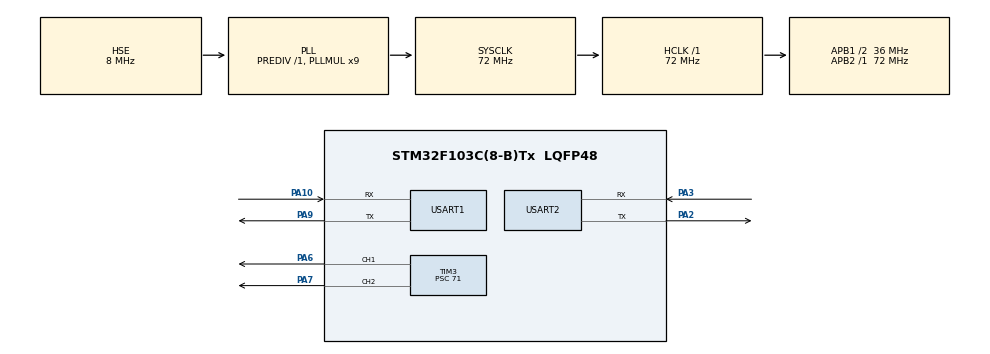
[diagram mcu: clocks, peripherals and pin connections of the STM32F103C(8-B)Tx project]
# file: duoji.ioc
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Dma.Request0=USART1_RX
Dma.USART1_RX.0.Direction=DMA_PERIPH_TO_MEMORY
Dma.USART1_RX.0.Instance=DMA1_Channel5
Dma.USART1_RX.0.MemDataAlignment=DMA_MDATAALIGN_BYTE
Dma.USART1_RX.0.MemInc=DMA_MINC_ENABLE
Dma.USART1_RX.0.Mode=DMA_NORMAL
Dma.USART1_RX.0.PeriphDataAlignment=DMA_PDATAALIGN_BYTE
Dma.USART1_RX.0.PeriphInc=DMA_PINC_DISABLE
Dma.USART1_RX.0.Priority=DMA_PRIORITY_LOW
Mcu.Family=STM32F1
Mcu.Name=STM32F103C(8-B)Tx
Mcu.Package=LQFP48
NVIC.DMA1_Channel5_IRQn=true\:0\:0\:false\:false\:true\:false\:true\:true
NVIC.PriorityGroup=NVIC_PRIORITYGROUP_4
NVIC.TIM4_IRQn=true\:0\:0\:false\:false\:true\:true\:true\:true
NVIC.USART1_IRQn=true\:0\:0\:false\:false\:true\:true\:true\:true
PA10.Mode=Asynchronous
PA10.Signal=USART1_RX
PA13.Mode=Serial_Wire
PA13.Signal=SYS_JTMS-SWDIO
PA14.Mode=Serial_Wire
PA14.Signal=SYS_JTCK-SWCLK
PA2.Mode=Asynchronous
PA2.Signal=USART2_TX
PA3.Mode=Asynchronous
PA3.Signal=USART2_RX
PA6.Signal=S_TIM3_CH1
PA7.Signal=S_TIM3_CH2
PA9.Mode=Asynchronous
PA9.Signal=USART1_TX
PD0-OSC_IN.Mode=HSE-External-Oscillator
PD0-OSC_IN.Signal=RCC_OSC_IN
PD1-OSC_OUT.Mode=HSE-External-Oscillator
PD1-OSC_OUT.Signal=RCC_OSC_OUT
ProjectManager.HeapSize=0x200
ProjectManager.StackSize=0x400
ProjectManager.TargetToolchain=MDK-ARM V5.32
RCC.AHBFreq_Value=72000000
RCC.APB1CLKDivider=RCC_HCLK_DIV2
RCC.APB1Freq_Value=36000000
RCC.APB1TimFreq_Value=72000000
RCC.APB2Freq_Value=72000000
RCC.APB2TimFreq_Value=72000000
RCC.HCLKFreq_Value=72000000
RCC.PLLMUL=RCC_PLL_MUL9
RCC.PLLSourceVirtual=RCC_PLLSOURCE_HSE
RCC.SYSCLKFreq_VALUE=72000000
RCC.SYSCLKSource=RCC_SYSCLKSOURCE_PLLCLK
RCC.USBFreq_Value=72000000
SH.S_TIM3_CH1.0=TIM3_CH1,PWM Generation1 CH1
SH.S_TIM3_CH2.0=TIM3_CH2,PWM Generation2 CH2
TIM3.Channel-PWM\ Generation1\ CH1=TIM_CHANNEL_1
TIM3.Channel-PWM\ Generation2\ CH2=TIM_CHANNEL_2
TIM3.Period=2000-1
TIM3.Prescaler=71
TIM4.AutoReloadPreload=TIM_AUTORELOAD_PRELOAD_ENABLE
TIM4.Period=9999
TIM4.Prescaler=71
USART1.VirtualMode=VM_ASYNC
USART2.VirtualMode=VM_ASYNC
VP_TIM3_VS_ClockSourceINT.Mode=Internal
VP_TIM4_VS_ClockSourceINT.Mode=Internal
board=custom

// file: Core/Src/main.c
/* USER CODE BEGIN Header */
/**
  ******************************************************************************
  * @file           : main.c
  * @brief          : Main program body
  ******************************************************************************
  * @attention
  *
  * Copyright (c) 2026 STMicroelectronics.
  * All rights reserved.
  *
  * This software is licensed under terms that can be found in the LICENSE file
  * in the root directory of this software component.
  * If no LICENSE file comes with this software, it is provided AS-IS.
  *
  ******************************************************************************
  */
/* USER CODE END Header */
#include "main.h"
#include "dma.h"
#include "tim.h"
#include "usart.h"
#include "gpio.h"

/* USER CODE BEGIN Includes */
#include "math.h"
#include "stdio.h"
#include "string.h"
#include <stdlib.h>
/* USER CODE END Includes */

/* USER CODE BEGIN PD */

// 坐标校正参数（由四角像素坐标计算得出）
// 四角：左上(175,50) 右上(574,46) 左下(188,459) 右下(566,463)
// 中心：(374, 254)
#define CAM_CENTER_X  374.0f    // 平台中心X像素坐标
#define CAM_CENTER_Y  254.0f    // 平台中心Y像素坐标
#define CAM_SCALE_X   194.25f   // X方向半径像素数：(374-181.5 + 570-374) / 2
#define CAM_SCALE_Y   206.5f    // Y方向半径像素数：(254-48 + 461-254) / 2

/* USER CODE END PD */

/* USER CODE BEGIN PV */

float ball_x = 0.0f;   // 归一化误差（中心=0，边界≈±1）
float ball_y = 0.0f;

float servo_x_angle = 90.0f;
float servo_y_angle = 90.0f;

// 位置环参数（外环，20ms周期）
float pos_Kp = 0.50f;
float pos_Kd = 6.00f;

float pos_prev_error_x = 0.0f;
float pos_prev_error_y = 0.0f;

// 速度环参数（内环，10ms周期）
float vel_Kp = 0.75f;
float vel_Kd = 4.00f;

float vel_prev_ball_x = 0.0f;
float vel_prev_ball_y = 0.0f;

// 位置环输出：目标速度
float target_vx = 0.0f;
float target_vy = 0.0f;

// 位置环计数器（每2次速度环跑一次位置环）
uint8_t pos_loop_cnt = 0;

float offset_x = 3.0f;
float offset_y = -3.0f;

uint32_t last_debug_time = 0;
volatile uint8_t control_flag = 0;
volatile uint8_t debug_tick = 0;

#define K230_RX_BUF_SIZE  128

uint8_t k230_rx_buf[K230_RX_BUF_SIZE];
volatile uint8_t k230_frame_ready = 0;

/* USER CODE END PV */

void SystemClock_Config(void);
/* USER CODE BEGIN PFP */

int fputc(int ch, FILE *f)
{
    HAL_UART_Transmit(&huart2, (uint8_t *)&ch, 1, HAL_MAX_DELAY);
    return ch;
}

/* USER CODE END PFP */

/* USER CODE BEGIN 0 */
void send_debug_data(void)
{
    // 先用简单格式排查问题，确认正常后再换回详细格式
    char buf[64];
    int wucha_x = (int)(ball_x * 100);
    int wucha_y = (int)(ball_y * 100);
    int duoji_x = (int)(servo_x_angle * 10);
    int duoji_y = (int)(servo_y_angle * 10);
    int len = sprintf(buf, "wucha_x:%d wucha_y:%d duoji_x:%d duoji_y:%d\r\n",
                      wucha_x, wucha_y, duoji_x, duoji_y);
    HAL_UART_Transmit(&huart2, (uint8_t *)buf, len, HAL_MAX_DELAY);
}
/* USER CODE END 0 */

int main(void)
{

  /* MCU Configuration--------------------------------------------------------*/

  /* Reset of all peripherals, Initializes the Flash interface and the Systick. */
  HAL_Init();

  /* Configure the system clock */
  SystemClock_Config();

  /* Initialize all configured peripherals */
  MX_GPIO_Init();
  MX_DMA_Init();
  MX_TIM3_Init();
  MX_USART1_UART_Init();
  MX_USART2_UART_Init();
  MX_TIM4_Init();
  /* USER CODE BEGIN 2 */

    __HAL_TIM_SET_COMPARE(&htim3, TIM_CHANNEL_1, 1500);
    __HAL_TIM_SET_COMPARE(&htim3, TIM_CHANNEL_2, 1500);
    HAL_TIM_PWM_Start(&htim3, TIM_CHANNEL_1);
    HAL_TIM_PWM_Start(&htim3, TIM_CHANNEL_2);

    HAL_UARTEx_ReceiveToIdle_DMA(&huart1, k230_rx_buf, K230_RX_BUF_SIZE);

    HAL_TIM_Base_Start_IT(&htim4);

  /* USER CODE END 2 */

  /* Infinite loop */
    while (1)
    {

    /* USER CODE BEGIN 3 */

        // 解析K230坐标（有新数据就解析，不管PD周期）
        if (k230_frame_ready == 1)
        {
            k230_frame_ready = 0;

            if (k230_rx_buf[0] == 0xAA && k230_rx_buf[1] == 0x55)
            {
                uint8_t checksum = (0xAA + 0x55 + k230_rx_buf[2] + k230_rx_buf[3]
                                   + k230_rx_buf[4] + k230_rx_buf[5]) & 0xFF;

                if (checksum == k230_rx_buf[6])
                {
                    int16_t raw_x = (int16_t)((k230_rx_buf[2] << 8) | k230_rx_buf[3]);
                    int16_t raw_y = (int16_t)((k230_rx_buf[4] << 8) | k230_rx_buf[5]);

                    ball_x = ((float)raw_x - CAM_CENTER_X) / CAM_SCALE_X;
                    ball_y = ((float)raw_y - CAM_CENTER_Y) / CAM_SCALE_Y;
                }
            }
        }

        // TIM4每10ms触发一次控制
        if (control_flag)
        {
            control_flag = 0;

            // ========== 速度环（内环，每10ms执行） ==========
            // 计算当前速度（ball_x已是归一化单位）
            float ball_vx = ball_x - vel_prev_ball_x;
            float ball_vy = ball_y - vel_prev_ball_y;

            // 速度死区
            if (ball_vx > -0.1f && ball_vx < 0.1f) ball_vx = 0;
            if (ball_vy > -0.1f && ball_vy < 0.1f) ball_vy = 0;

            // 速度误差 = 目标速度 - 实际速度
            float vel_error_x = target_vx - ball_vx;
            float vel_error_y = target_vy - ball_vy;

            // 速度环PD
            float vel_out_x = vel_Kp * vel_error_x + vel_Kd * ball_vx;
            float vel_out_y = vel_Kp * vel_error_y + vel_Kd * ball_vy;

            servo_x_angle = 90.0f - vel_out_x * 3.0f + offset_x;
            servo_y_angle = 90.0f + vel_out_y * 3.0f + offset_y;

            // 限幅
            if (servo_x_angle < 65) servo_x_angle = 65;
            if (servo_x_angle > 115) servo_x_angle = 115;
            if (servo_y_angle < 65) servo_y_angle = 65;
            if (servo_y_angle > 115) servo_y_angle = 115;

            // 输出PWM
            uint16_t servo_x_pwm = (uint16_t)(500 + servo_x_angle * 11.11f);
            uint16_t servo_y_pwm = (uint16_t)(500 + servo_y_angle * 11.11f);
            __HAL_TIM_SET_COMPARE(&htim3, TIM_CHANNEL_1, servo_x_pwm);
            __HAL_TIM_SET_COMPARE(&htim3, TIM_CHANNEL_2, servo_y_pwm);

            vel_prev_ball_x = ball_x;
            vel_prev_ball_y = ball_y;

            // ========== 位置环（外环，每20ms执行一次） ==========
            pos_loop_cnt++;
            if (pos_loop_cnt >= 2)
            {
                pos_loop_cnt = 0;

                float error_x = ball_x;  // 已经是归一化误差
                float error_y = ball_y;

                // 误差死区
                if (error_x > -0.2f && error_x < 0.2f) error_x = 0;
                if (error_y > -0.2f && error_y < 0.2f) error_y = 0;

                // 位置环PD：输出目标速度
                float d_error_x = error_x - pos_prev_error_x;
                float d_error_y = error_y - pos_prev_error_y;
                target_vx = pos_Kp * error_x + pos_Kd * d_error_x;
                target_vy = pos_Kp * error_y + pos_Kd * d_error_y;

                pos_prev_error_x = error_x;
                pos_prev_error_y = error_y;
            }
        }

        if (debug_tick >= 20)
        {
            debug_tick = 0;
            send_debug_data();
        }

    }

  /* USER CODE END 3 */
}

void SystemClock_Config(void)
{
  RCC_OscInitTypeDef RCC_OscInitStruct = {0};
  RCC_ClkInitTypeDef RCC_ClkInitStruct = {0};

  /** Initializes the RCC Oscillators according to the specified parameters
  * in the RCC_OscInitTypeDef structure.
  */
  RCC_OscInitStruct.OscillatorType = RCC_OSCILLATORTYPE_HSE;
  RCC_OscInitStruct.HSEState = RCC_HSE_ON;
  RCC_OscInitStruct.HSEPredivValue = RCC_HSE_PREDIV_DIV1;
  RCC_OscInitStruct.HSIState = RCC_HSI_ON;
  RCC_OscInitStruct.PLL.PLLState = RCC_PLL_ON;
  RCC_OscInitStruct.PLL.PLLSource = RCC_PLLSOURCE_HSE;
  RCC_OscInitStruct.PLL.PLLMUL = RCC_PLL_MUL9;
  if (HAL_RCC_OscConfig(&RCC_OscInitStruct) != HAL_OK)
  {
    Error_Handler();
  }

  /** Initializes the CPU, AHB and APB buses clocks
  */
  RCC_ClkInitStruct.ClockType = RCC_CLOCKTYPE_HCLK|RCC_CLOCKTYPE_SYSCLK
                              |RCC_CLOCKTYPE_PCLK1|RCC_CLOCKTYPE_PCLK2;
  RCC_ClkInitStruct.SYSCLKSource = RCC_SYSCLKSOURCE_PLLCLK;
  RCC_ClkInitStruct.AHBCLKDivider = RCC_SYSCLK_DIV1;
  RCC_ClkInitStruct.APB1CLKDivider = RCC_HCLK_DIV2;
  RCC_ClkInitStruct.APB2CLKDivider = RCC_HCLK_DIV1;

  if (HAL_RCC_ClockConfig(&RCC_ClkInitStruct, FLASH_LATENCY_2) != HAL_OK)
  {
    Error_Handler();
  }
}

/* USER CODE BEGIN 4 */

void HAL_UARTEx_RxEventCallback(UART_HandleTypeDef *huart, uint16_t Size)
{
    if (huart->Instance == USART1)
    {
        if (Size > 0)
        {
            k230_rx_buf[Size] = '\0';

            k230_frame_ready = 1;
        }

        HAL_UARTEx_ReceiveToIdle_DMA(&huart1, k230_rx_buf, K230_RX_BUF_SIZE);
    }
}

// TIM4每10ms中断一次，置位控制标志（速度环周期）
void HAL_TIM_PeriodElapsedCallback(TIM_HandleTypeDef *htim)
{
    if (htim->Instance == TIM4)
    {
        control_flag = 1;
        debug_tick++;
    }
}

/* USER CODE END 4 */

void Error_Handler(void)
{
    __disable_irq();
    while (1)
    {
    }
}
